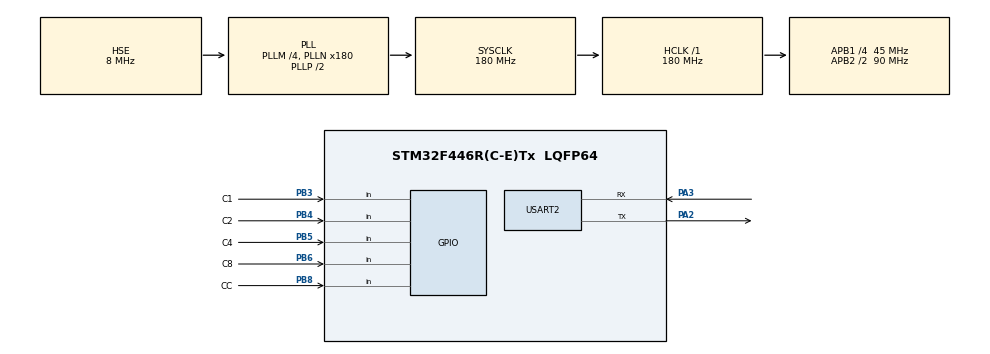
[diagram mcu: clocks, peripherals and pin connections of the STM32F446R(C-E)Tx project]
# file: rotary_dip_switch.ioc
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Mcu.Family=STM32F4
Mcu.Name=STM32F446R(C-E)Tx
Mcu.Package=LQFP64
NVIC.PriorityGroup=NVIC_PRIORITYGROUP_0
PA13.Mode=Serial_Wire
PA13.Signal=SYS_JTMS-SWDIO
PA14.Mode=Serial_Wire
PA14.Signal=SYS_JTCK-SWCLK
PA2.Mode=Asynchronous
PA2.Signal=USART2_TX
PA3.Mode=Asynchronous
PA3.Signal=USART2_RX
PB3.GPIO_Label=C1
PB3.GPIO_PuPd=GPIO_PULLDOWN
PB3.Signal=GPIO_Input
PB4.GPIO_Label=C2
PB4.GPIO_PuPd=GPIO_PULLDOWN
PB4.Signal=GPIO_Input
PB5.GPIO_Label=C4
PB5.GPIO_PuPd=GPIO_PULLDOWN
PB5.Signal=GPIO_Input
PB6.GPIO_Label=C8
PB6.GPIO_PuPd=GPIO_PULLDOWN
PB6.Signal=GPIO_Input
PB8.GPIO_Label=CC
PB8.GPIO_PuPd=GPIO_PULLUP
PB8.Signal=GPIO_Input
PH0-OSC_IN.Mode=HSE-External-Oscillator
PH0-OSC_IN.Signal=RCC_OSC_IN
PH1-OSC_OUT.Mode=HSE-External-Oscillator
PH1-OSC_OUT.Signal=RCC_OSC_OUT
ProjectManager.HeapSize=0x200
ProjectManager.StackSize=0x400
ProjectManager.TargetToolchain=Makefile
RCC.AHBFreq_Value=180000000
RCC.APB1CLKDivider=RCC_HCLK_DIV4
RCC.APB1Freq_Value=45000000
RCC.APB1TimFreq_Value=90000000
RCC.APB2CLKDivider=RCC_HCLK_DIV2
RCC.APB2Freq_Value=90000000
RCC.APB2TimFreq_Value=180000000
RCC.CortexFreq_Value=180000000
RCC.FLatency-AdvancedSettings=FLASH_LATENCY_5
RCC.HCLKFreq_Value=180000000
RCC.HSE_VALUE=8000000
RCC.HSI_VALUE=16000000
RCC.LSE_VALUE=32768
RCC.PLLM=4
RCC.PLLN=180
RCC.PLLSourceVirtual=RCC_PLLSOURCE_HSE
RCC.SYSCLKFreq_VALUE=180000000
RCC.SYSCLKSource=RCC_SYSCLKSOURCE_PLLCLK
RCC.USBFreq_Value=180000000
RCC.VCOOutputFreq_Value=360000000
USART2.VirtualMode=VM_ASYNC
board=NUCLEO-F446RE

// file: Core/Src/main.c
/* USER CODE BEGIN Header */
/**
  ******************************************************************************
  * @file           : main.c
  * @brief          : Main program body
  ******************************************************************************
  * @attention
  *
  * Copyright (c) 2025 STMicroelectronics.
  * All rights reserved.
  *
  * This software is licensed under terms that can be found in the LICENSE file
  * in the root directory of this software component.
  * If no LICENSE file comes with this software, it is provided AS-IS.
  *
  ******************************************************************************
  */
/* USER CODE END Header */
#include "main.h"
#include "usart.h"
#include "gpio.h"

/* USER CODE BEGIN Includes */
#include <stdio.h>
#include <string.h>
/* USER CODE END Includes */

/* USER CODE BEGIN PTD */
typedef struct {
  GPIO_TypeDef *gpiox[5];
  uint16_t pin[5];
  uint8_t position;
} RDS_t;
/* USER CODE END PTD */

void SystemClock_Config(void);

/* USER CODE BEGIN 0 */
uint8_t RDS_read(RDS_t *rds) {
  rds->position = 0;
  if (HAL_GPIO_ReadPin(rds->gpiox[0], rds->pin[0]) == GPIO_PIN_SET) {
    rds->position |= (HAL_GPIO_ReadPin(rds->gpiox[1], rds->pin[1]) == GPIO_PIN_SET ? 1 : 0) << 0;
    rds->position |= (HAL_GPIO_ReadPin(rds->gpiox[2], rds->pin[2]) == GPIO_PIN_SET ? 1 : 0) << 1;
    rds->position |= (HAL_GPIO_ReadPin(rds->gpiox[3], rds->pin[3]) == GPIO_PIN_SET ? 1 : 0) << 2;
    rds->position |= (HAL_GPIO_ReadPin(rds->gpiox[4], rds->pin[4]) == GPIO_PIN_SET ? 1 : 0) << 3;
  }
  return rds->position;
}
/* USER CODE END 0 */

int main(void)
{

  /* MCU Configuration--------------------------------------------------------*/

  /* Reset of all peripherals, Initializes the Flash interface and the Systick. */
  HAL_Init();

  /* Configure the system clock */
  SystemClock_Config();

  /* Initialize all configured peripherals */
  MX_GPIO_Init();
  MX_USART2_UART_Init();
  /* USER CODE BEGIN 2 */
  RDS_t rds1 = {
    .gpiox = {CC_GPIO_Port, C1_GPIO_Port, C2_GPIO_Port, C4_GPIO_Port, C8_GPIO_Port},
    .pin = {CC_Pin, C1_Pin, C2_Pin, C4_Pin, C8_Pin},
    .position = 0
  };

  /* USER CODE END 2 */

  /* Infinite loop */
  /* USER CODE BEGIN WHILE */
  char msg[32];
  uint32_t past = 0;
  const uint32_t interval = 500;

  while (1)
  {
    uint32_t now = uwTick;
    uint8_t rds1_pos = RDS_read(&rds1);

    if ((now - past) >= interval) {
      past = now;
      sprintf(msg, "position: %hu\r\n", rds1_pos);
      HAL_UART_Transmit(&huart2, (uint8_t*)msg, strlen(msg), HAL_MAX_DELAY);
    }
    /* USER CODE END WHILE */

  }
}

void SystemClock_Config(void)
{
  RCC_OscInitTypeDef RCC_OscInitStruct = {0};
  RCC_ClkInitTypeDef RCC_ClkInitStruct = {0};

  /** Configure the main internal regulator output voltage
  */
  __HAL_RCC_PWR_CLK_ENABLE();
  __HAL_PWR_VOLTAGESCALING_CONFIG(PWR_REGULATOR_VOLTAGE_SCALE1);

  /** Initializes the RCC Oscillators according to the specified parameters
  * in the RCC_OscInitTypeDef structure.
  */
  RCC_OscInitStruct.OscillatorType = RCC_OSCILLATORTYPE_HSE;
  RCC_OscInitStruct.HSEState = RCC_HSE_ON;
  RCC_OscInitStruct.PLL.PLLState = RCC_PLL_ON;
  RCC_OscInitStruct.PLL.PLLSource = RCC_PLLSOURCE_HSE;
  RCC_OscInitStruct.PLL.PLLM = 4;
  RCC_OscInitStruct.PLL.PLLN = 180;
  RCC_OscInitStruct.PLL.PLLP = RCC_PLLP_DIV2;
  RCC_OscInitStruct.PLL.PLLQ = 2;
  RCC_OscInitStruct.PLL.PLLR = 2;
  if (HAL_RCC_OscConfig(&RCC_OscInitStruct) != HAL_OK)
  {
    Error_Handler();
  }

  /** Activate the Over-Drive mode
  */
  if (HAL_PWREx_EnableOverDrive() != HAL_OK)
  {
    Error_Handler();
  }

  /** Initializes the CPU, AHB and APB buses clocks
  */
  RCC_ClkInitStruct.ClockType = RCC_CLOCKTYPE_HCLK|RCC_CLOCKTYPE_SYSCLK
                              |RCC_CLOCKTYPE_PCLK1|RCC_CLOCKTYPE_PCLK2;
  RCC_ClkInitStruct.SYSCLKSource = RCC_SYSCLKSOURCE_PLLCLK;
  RCC_ClkInitStruct.AHBCLKDivider = RCC_SYSCLK_DIV1;
  RCC_ClkInitStruct.APB1CLKDivider = RCC_HCLK_DIV4;
  RCC_ClkInitStruct.APB2CLKDivider = RCC_HCLK_DIV2;

  if (HAL_RCC_ClockConfig(&RCC_ClkInitStruct, FLASH_LATENCY_5) != HAL_OK)
  {
    Error_Handler();
  }
}

void Error_Handler(void)
{
  __disable_irq();
  while (1)
  {
  }
}
